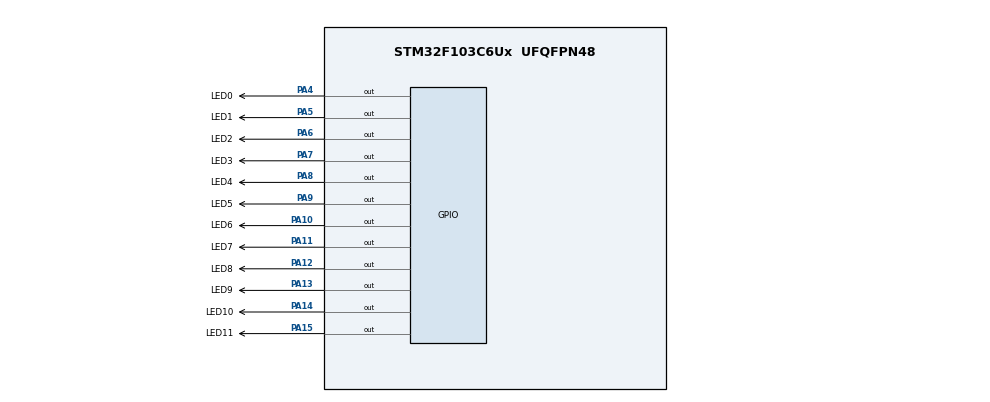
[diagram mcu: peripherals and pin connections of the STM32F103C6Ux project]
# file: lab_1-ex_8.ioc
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Mcu.Family=STM32F1
Mcu.Name=STM32F103C6Ux
Mcu.Package=UFQFPN48
NVIC.PriorityGroup=NVIC_PRIORITYGROUP_4
PA10.GPIO_Label=LED6
PA10.Signal=GPIO_Output
PA11.GPIO_Label=LED7
PA11.Signal=GPIO_Output
PA12.GPIO_Label=LED8
PA12.Signal=GPIO_Output
PA13.GPIO_Label=LED9
PA13.Signal=GPIO_Output
PA14.GPIO_Label=LED10
PA14.Signal=GPIO_Output
PA15.GPIO_Label=LED11
PA15.Signal=GPIO_Output
PA4.GPIO_Label=LED0
PA4.Signal=GPIO_Output
PA5.GPIO_Label=LED1
PA5.Signal=GPIO_Output
PA6.GPIO_Label=LED2
PA6.Signal=GPIO_Output
PA7.GPIO_Label=LED3
PA7.Signal=GPIO_Output
PA8.GPIO_Label=LED4
PA8.Signal=GPIO_Output
PA9.GPIO_Label=LED5
PA9.Signal=GPIO_Output
ProjectManager.HeapSize=0x200
ProjectManager.StackSize=0x400
ProjectManager.TargetToolchain=STM32CubeIDE
RCC.APB1Freq_Value=8000000
RCC.APB2Freq_Value=8000000
VP_SYS_VS_ND.Mode=No_Debug
board=custom

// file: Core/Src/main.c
/* USER CODE BEGIN Header */
/**
  ******************************************************************************
  * @file           : main.c
  * @brief          : Main program body
  ******************************************************************************
  * @attention
  *
  * <h2><center>&copy; Copyright (c) 2022 STMicroelectronics.
  * All rights reserved.</center></h2>
  *
  * This software component is licensed by ST under BSD 3-Clause license,
  * the "License"; You may not use this file except in compliance with the
  * License. You may obtain a copy of the License at:
  *                        opensource.org/licenses/BSD-3-Clause
  *
  ******************************************************************************
  */
/* USER CODE END Header */
#include "main.h"

void SystemClock_Config(void);
static void MX_GPIO_Init(void);

int main(void)
{

  /* MCU Configuration--------------------------------------------------------*/

  /* Reset of all peripherals, Initializes the Flash interface and the Systick. */
  HAL_Init();

  /* USER CODE BEGIN Init */
  int num_input = 9;
  void setNumberOnClock(int num){
	  switch (num){
	  case	0:
		  HAL_GPIO_WritePin(LED0_GPIO_Port, LED0_Pin, GPIO_PIN_RESET);
		  HAL_GPIO_WritePin(LED1_GPIO_Port, LED1_Pin, GPIO_PIN_SET);
		  HAL_GPIO_WritePin(LED2_GPIO_Port, LED2_Pin, GPIO_PIN_SET);
		  HAL_GPIO_WritePin(LED3_GPIO_Port, LED3_Pin, GPIO_PIN_SET);
		  HAL_GPIO_WritePin(LED4_GPIO_Port, LED4_Pin, GPIO_PIN_SET);
		  HAL_GPIO_WritePin(LED5_GPIO_Port, LED5_Pin, GPIO_PIN_SET);
		  HAL_GPIO_WritePin(LED6_GPIO_Port, LED6_Pin, GPIO_PIN_SET);
		  HAL_GPIO_WritePin(LED7_GPIO_Port, LED7_Pin, GPIO_PIN_SET);
		  HAL_GPIO_WritePin(LED8_GPIO_Port, LED8_Pin, GPIO_PIN_SET);
		  HAL_GPIO_WritePin(LED9_GPIO_Port, LED9_Pin, GPIO_PIN_SET);
		  HAL_GPIO_WritePin(LED10_GPIO_Port, LED10_Pin, GPIO_PIN_SET);
		  HAL_GPIO_WritePin(LED11_GPIO_Port, LED11_Pin, GPIO_PIN_SET);
		  break;
	  case	1:
		  HAL_GPIO_WritePin(LED1_GPIO_Port, LED1_Pin, GPIO_PIN_RESET);
		  HAL_GPIO_WritePin(LED0_GPIO_Port, LED0_Pin, GPIO_PIN_SET);
		  HAL_GPIO_WritePin(LED2_GPIO_Port, LED2_Pin, GPIO_PIN_SET);
		  HAL_GPIO_WritePin(LED3_GPIO_Port, LED3_Pin, GPIO_PIN_SET);
		  HAL_GPIO_WritePin(LED4_GPIO_Port, LED4_Pin, GPIO_PIN_SET);
		  HAL_GPIO_WritePin(LED5_GPIO_Port, LED5_Pin, GPIO_PIN_SET);
		  HAL_GPIO_WritePin(LED6_GPIO_Port, LED6_Pin, GPIO_PIN_SET);
		  HAL_GPIO_WritePin(LED7_GPIO_Port, LED7_Pin, GPIO_PIN_SET);
		  HAL_GPIO_WritePin(LED8_GPIO_Port, LED8_Pin, GPIO_PIN_SET);
		  HAL_GPIO_WritePin(LED9_GPIO_Port, LED9_Pin, GPIO_PIN_SET);
		  HAL_GPIO_WritePin(LED10_GPIO_Port, LED10_Pin, GPIO_PIN_SET);
		  HAL_GPIO_WritePin(LED11_GPIO_Port, LED11_Pin, GPIO_PIN_SET);
		  break;
	  case	2:
		  HAL_GPIO_WritePin(LED2_GPIO_Port, LED2_Pin, GPIO_PIN_RESET);
		  HAL_GPIO_WritePin(LED1_GPIO_Port, LED1_Pin, GPIO_PIN_SET);
		  HAL_GPIO_WritePin(LED0_GPIO_Port, LED0_Pin, GPIO_PIN_SET);
		  HAL_GPIO_WritePin(LED3_GPIO_Port, LED3_Pin, GPIO_PIN_SET);
		  HAL_GPIO_WritePin(LED4_GPIO_Port, LED4_Pin, GPIO_PIN_SET);
		  HAL_GPIO_WritePin(LED5_GPIO_Port, LED5_Pin, GPIO_PIN_SET);
		  HAL_GPIO_WritePin(LED6_GPIO_Port, LED6_Pin, GPIO_PIN_SET);
		  HAL_GPIO_WritePin(LED7_GPIO_Port, LED7_Pin, GPIO_PIN_SET);
		  HAL_GPIO_WritePin(LED8_GPIO_Port, LED8_Pin, GPIO_PIN_SET);
		  HAL_GPIO_WritePin(LED9_GPIO_Port, LED9_Pin, GPIO_PIN_SET);
		  HAL_GPIO_WritePin(LED10_GPIO_Port, LED10_Pin, GPIO_PIN_SET);
		  HAL_GPIO_WritePin(LED11_GPIO_Port, LED11_Pin, GPIO_PIN_SET);
		  break;
	  case	3:
		  HAL_GPIO_WritePin(LED3_GPIO_Port, LED3_Pin, GPIO_PIN_RESET);
		  HAL_GPIO_WritePin(LED1_GPIO_Port, LED1_Pin, GPIO_PIN_SET);
		  HAL_GPIO_WritePin(LED2_GPIO_Port, LED2_Pin, GPIO_PIN_SET);
		  HAL_GPIO_WritePin(LED0_GPIO_Port, LED0_Pin, GPIO_PIN_SET);
		  HAL_GPIO_WritePin(LED4_GPIO_Port, LED4_Pin, GPIO_PIN_SET);
		  HAL_GPIO_WritePin(LED5_GPIO_Port, LED5_Pin, GPIO_PIN_SET);
		  HAL_GPIO_WritePin(LED6_GPIO_Port, LED6_Pin, GPIO_PIN_SET);
		  HAL_GPIO_WritePin(LED7_GPIO_Port, LED7_Pin, GPIO_PIN_SET);
		  HAL_GPIO_WritePin(LED8_GPIO_Port, LED8_Pin, GPIO_PIN_SET);
		  HAL_GPIO_WritePin(LED9_GPIO_Port, LED9_Pin, GPIO_PIN_SET);
		  HAL_GPIO_WritePin(LED10_GPIO_Port, LED10_Pin, GPIO_PIN_SET);
		  HAL_GPIO_WritePin(LED11_GPIO_Port, LED11_Pin, GPIO_PIN_SET);
		  break;
	  case	4:
		  HAL_GPIO_WritePin(LED4_GPIO_Port, LED4_Pin, GPIO_PIN_RESET);
		  HAL_GPIO_WritePin(LED1_GPIO_Port, LED1_Pin, GPIO_PIN_SET);
		  HAL_GPIO_WritePin(LED2_GPIO_Port, LED2_Pin, GPIO_PIN_SET);
		  HAL_GPIO_WritePin(LED3_GPIO_Port, LED3_Pin, GPIO_PIN_SET);
		  HAL_GPIO_WritePin(LED0_GPIO_Port, LED0_Pin, GPIO_PIN_SET);
		  HAL_GPIO_WritePin(LED5_GPIO_Port, LED5_Pin, GPIO_PIN_SET);
		  HAL_GPIO_WritePin(LED6_GPIO_Port, LED6_Pin, GPIO_PIN_SET);
		  HAL_GPIO_WritePin(LED7_GPIO_Port, LED7_Pin, GPIO_PIN_SET);
		  HAL_GPIO_WritePin(LED8_GPIO_Port, LED8_Pin, GPIO_PIN_SET);
		  HAL_GPIO_WritePin(LED9_GPIO_Port, LED9_Pin, GPIO_PIN_SET);
		  HAL_GPIO_WritePin(LED10_GPIO_Port, LED10_Pin, GPIO_PIN_SET);
		  HAL_GPIO_WritePin(LED11_GPIO_Port, LED11_Pin, GPIO_PIN_SET);
		  break;
	  case	5:
		  HAL_GPIO_WritePin(LED5_GPIO_Port, LED5_Pin, GPIO_PIN_RESET);
		  HAL_GPIO_WritePin(LED1_GPIO_Port, LED1_Pin, GPIO_PIN_SET);
		  HAL_GPIO_WritePin(LED2_GPIO_Port, LED2_Pin, GPIO_PIN_SET);
		  HAL_GPIO_WritePin(LED3_GPIO_Port, LED3_Pin, GPIO_PIN_SET);
		  HAL_GPIO_WritePin(LED4_GPIO_Port, LED4_Pin, GPIO_PIN_SET);
		  HAL_GPIO_WritePin(LED0_GPIO_Port, LED0_Pin, GPIO_PIN_SET);
		  HAL_GPIO_WritePin(LED6_GPIO_Port, LED6_Pin, GPIO_PIN_SET);
		  HAL_GPIO_WritePin(LED7_GPIO_Port, LED7_Pin, GPIO_PIN_SET);
		  HAL_GPIO_WritePin(LED8_GPIO_Port, LED8_Pin, GPIO_PIN_SET);
		  HAL_GPIO_WritePin(LED9_GPIO_Port, LED9_Pin, GPIO_PIN_SET);
		  HAL_GPIO_WritePin(LED10_GPIO_Port, LED10_Pin, GPIO_PIN_SET);
		  HAL_GPIO_WritePin(LED11_GPIO_Port, LED11_Pin, GPIO_PIN_SET);
		  break;
	  case	6:
		  HAL_GPIO_WritePin(LED6_GPIO_Port, LED6_Pin, GPIO_PIN_RESET);
		  HAL_GPIO_WritePin(LED1_GPIO_Port, LED1_Pin, GPIO_PIN_SET);
		  HAL_GPIO_WritePin(LED2_GPIO_Port, LED2_Pin, GPIO_PIN_SET);
		  HAL_GPIO_WritePin(LED3_GPIO_Port, LED3_Pin, GPIO_PIN_SET);
		  HAL_GPIO_WritePin(LED4_GPIO_Port, LED4_Pin, GPIO_PIN_SET);
		  HAL_GPIO_WritePin(LED5_GPIO_Port, LED5_Pin, GPIO_PIN_SET);
		  HAL_GPIO_WritePin(LED0_GPIO_Port, LED0_Pin, GPIO_PIN_SET);
		  HAL_GPIO_WritePin(LED7_GPIO_Port, LED7_Pin, GPIO_PIN_SET);
		  HAL_GPIO_WritePin(LED8_GPIO_Port, LED8_Pin, GPIO_PIN_SET);
		  HAL_GPIO_WritePin(LED9_GPIO_Port, LED9_Pin, GPIO_PIN_SET);
		  HAL_GPIO_WritePin(LED10_GPIO_Port, LED10_Pin, GPIO_PIN_SET);
		  HAL_GPIO_WritePin(LED11_GPIO_Port, LED11_Pin, GPIO_PIN_SET);
		  break;
	  case	7:
		  HAL_GPIO_WritePin(LED7_GPIO_Port, LED7_Pin, GPIO_PIN_RESET);
		  HAL_GPIO_WritePin(LED1_GPIO_Port, LED1_Pin, GPIO_PIN_SET);
		  HAL_GPIO_WritePin(LED2_GPIO_Port, LED2_Pin, GPIO_PIN_SET);
		  HAL_GPIO_WritePin(LED3_GPIO_Port, LED3_Pin, GPIO_PIN_SET);
		  HAL_GPIO_WritePin(LED4_GPIO_Port, LED4_Pin, GPIO_PIN_SET);
		  HAL_GPIO_WritePin(LED5_GPIO_Port, LED5_Pin, GPIO_PIN_SET);
		  HAL_GPIO_WritePin(LED6_GPIO_Port, LED6_Pin, GPIO_PIN_SET);
		  HAL_GPIO_WritePin(LED0_GPIO_Port, LED0_Pin, GPIO_PIN_SET);
		  HAL_GPIO_WritePin(LED8_GPIO_Port, LED8_Pin, GPIO_PIN_SET);
		  HAL_GPIO_WritePin(LED9_GPIO_Port, LED9_Pin, GPIO_PIN_SET);
		  HAL_GPIO_WritePin(LED10_GPIO_Port, LED10_Pin, GPIO_PIN_SET);
		  HAL_GPIO_WritePin(LED11_GPIO_Port, LED11_Pin, GPIO_PIN_SET);
		  break;
	  case	8:
		  HAL_GPIO_WritePin(LED8_GPIO_Port, LED8_Pin, GPIO_PIN_RESET);
		  HAL_GPIO_WritePin(LED1_GPIO_Port, LED1_Pin, GPIO_PIN_SET);
		  HAL_GPIO_WritePin(LED2_GPIO_Port, LED2_Pin, GPIO_PIN_SET);
		  HAL_GPIO_WritePin(LED3_GPIO_Port, LED3_Pin, GPIO_PIN_SET);
		  HAL_GPIO_WritePin(LED4_GPIO_Port, LED4_Pin, GPIO_PIN_SET);
		  HAL_GPIO_WritePin(LED5_GPIO_Port, LED5_Pin, GPIO_PIN_SET);
		  HAL_GPIO_WritePin(LED6_GPIO_Port, LED6_Pin, GPIO_PIN_SET);
		  HAL_GPIO_WritePin(LED7_GPIO_Port, LED7_Pin, GPIO_PIN_SET);
		  HAL_GPIO_WritePin(LED0_GPIO_Port, LED0_Pin, GPIO_PIN_SET);
		  HAL_GPIO_WritePin(LED9_GPIO_Port, LED9_Pin, GPIO_PIN_SET);
		  HAL_GPIO_WritePin(LED10_GPIO_Port, LED10_Pin, GPIO_PIN_SET);
		  HAL_GPIO_WritePin(LED11_GPIO_Port, LED11_Pin, GPIO_PIN_SET);
		  break;
	  case	9:
		  HAL_GPIO_WritePin(LED9_GPIO_Port, LED9_Pin, GPIO_PIN_RESET);
		  HAL_GPIO_WritePin(LED1_GPIO_Port, LED1_Pin, GPIO_PIN_SET);
		  HAL_GPIO_WritePin(LED2_GPIO_Port, LED2_Pin, GPIO_PIN_SET);
		  HAL_GPIO_WritePin(LED3_GPIO_Port, LED3_Pin, GPIO_PIN_SET);
		  HAL_GPIO_WritePin(LED4_GPIO_Port, LED4_Pin, GPIO_PIN_SET);
		  HAL_GPIO_WritePin(LED5_GPIO_Port, LED5_Pin, GPIO_PIN_SET);
		  HAL_GPIO_WritePin(LED6_GPIO_Port, LED6_Pin, GPIO_PIN_SET);
		  HAL_GPIO_WritePin(LED7_GPIO_Port, LED7_Pin, GPIO_PIN_SET);
		  HAL_GPIO_WritePin(LED8_GPIO_Port, LED8_Pin, GPIO_PIN_SET);
		  HAL_GPIO_WritePin(LED0_GPIO_Port, LED0_Pin, GPIO_PIN_SET);
		  HAL_GPIO_WritePin(LED10_GPIO_Port, LED10_Pin, GPIO_PIN_SET);
		  HAL_GPIO_WritePin(LED11_GPIO_Port, LED11_Pin, GPIO_PIN_SET);
		  break;
	  case	10:
		  HAL_GPIO_WritePin(LED10_GPIO_Port, LED10_Pin, GPIO_PIN_RESET);
		  HAL_GPIO_WritePin(LED1_GPIO_Port, LED1_Pin, GPIO_PIN_SET);
		  HAL_GPIO_WritePin(LED2_GPIO_Port, LED2_Pin, GPIO_PIN_SET);
		  HAL_GPIO_WritePin(LED3_GPIO_Port, LED3_Pin, GPIO_PIN_SET);
		  HAL_GPIO_WritePin(LED4_GPIO_Port, LED4_Pin, GPIO_PIN_SET);
		  HAL_GPIO_WritePin(LED5_GPIO_Port, LED5_Pin, GPIO_PIN_SET);
		  HAL_GPIO_WritePin(LED6_GPIO_Port, LED6_Pin, GPIO_PIN_SET);
		  HAL_GPIO_WritePin(LED7_GPIO_Port, LED7_Pin, GPIO_PIN_SET);
		  HAL_GPIO_WritePin(LED8_GPIO_Port, LED8_Pin, GPIO_PIN_SET);
		  HAL_GPIO_WritePin(LED9_GPIO_Port, LED9_Pin, GPIO_PIN_SET);
		  HAL_GPIO_WritePin(LED0_GPIO_Port, LED0_Pin, GPIO_PIN_SET);
		  HAL_GPIO_WritePin(LED11_GPIO_Port, LED11_Pin, GPIO_PIN_SET);
		  break;
	  case	11:
		  HAL_GPIO_WritePin(LED11_GPIO_Port, LED11_Pin, GPIO_PIN_RESET);
		  HAL_GPIO_WritePin(LED1_GPIO_Port, LED1_Pin, GPIO_PIN_SET);
		  HAL_GPIO_WritePin(LED2_GPIO_Port, LED2_Pin, GPIO_PIN_SET);
		  HAL_GPIO_WritePin(LED3_GPIO_Port, LED3_Pin, GPIO_PIN_SET);
		  HAL_GPIO_WritePin(LED4_GPIO_Port, LED4_Pin, GPIO_PIN_SET);
		  HAL_GPIO_WritePin(LED5_GPIO_Port, LED5_Pin, GPIO_PIN_SET);
		  HAL_GPIO_WritePin(LED6_GPIO_Port, LED6_Pin, GPIO_PIN_SET);
		  HAL_GPIO_WritePin(LED7_GPIO_Port, LED7_Pin, GPIO_PIN_SET);
		  HAL_GPIO_WritePin(LED8_GPIO_Port, LED8_Pin, GPIO_PIN_SET);
		  HAL_GPIO_WritePin(LED9_GPIO_Port, LED9_Pin, GPIO_PIN_SET);
		  HAL_GPIO_WritePin(LED10_GPIO_Port, LED10_Pin, GPIO_PIN_SET);
		  HAL_GPIO_WritePin(LED0_GPIO_Port, LED0_Pin, GPIO_PIN_SET);
		  break;

	  }
  }
  /* USER CODE END Init */

  /* Configure the system clock */
  SystemClock_Config();

  /* Initialize all configured peripherals */
  MX_GPIO_Init();

  /* Infinite loop */
  /* USER CODE BEGIN WHILE */
  while (1)
  {
	  setNumberOnClock(num_input);
	  HAL_Delay(1000);
    /* USER CODE END WHILE */

  }
}

void SystemClock_Config(void)
{
  RCC_OscInitTypeDef RCC_OscInitStruct = {0};
  RCC_ClkInitTypeDef RCC_ClkInitStruct = {0};

  /** Initializes the RCC Oscillators according to the specified parameters
  * in the RCC_OscInitTypeDef structure.
  */
  RCC_OscInitStruct.OscillatorType = RCC_OSCILLATORTYPE_HSI;
  RCC_OscInitStruct.HSIState = RCC_HSI_ON;
  RCC_OscInitStruct.HSICalibrationValue = RCC_HSICALIBRATION_DEFAULT;
  RCC_OscInitStruct.PLL.PLLState = RCC_PLL_NONE;
  if (HAL_RCC_OscConfig(&RCC_OscInitStruct) != HAL_OK)
  {
    Error_Handler();
  }
  /** Initializes the CPU, AHB and APB buses clocks
  */
  RCC_ClkInitStruct.ClockType = RCC_CLOCKTYPE_HCLK|RCC_CLOCKTYPE_SYSCLK
                              |RCC_CLOCKTYPE_PCLK1|RCC_CLOCKTYPE_PCLK2;
  RCC_ClkInitStruct.SYSCLKSource = RCC_SYSCLKSOURCE_HSI;
  RCC_ClkInitStruct.AHBCLKDivider = RCC_SYSCLK_DIV1;
  RCC_ClkInitStruct.APB1CLKDivider = RCC_HCLK_DIV1;
  RCC_ClkInitStruct.APB2CLKDivider = RCC_HCLK_DIV1;

  if (HAL_RCC_ClockConfig(&RCC_ClkInitStruct, FLASH_LATENCY_0) != HAL_OK)
  {
    Error_Handler();
  }
}

static void MX_GPIO_Init(void)
{
  GPIO_InitTypeDef GPIO_InitStruct = {0};

  /* GPIO Ports Clock Enable */
  __HAL_RCC_GPIOA_CLK_ENABLE();

  /*Configure GPIO pin Output Level */
  HAL_GPIO_WritePin(GPIOA, LED0_Pin|LED1_Pin|LED2_Pin|LED3_Pin
                          |LED4_Pin|LED5_Pin|LED6_Pin|LED7_Pin
                          |LED8_Pin|LED9_Pin|LED10_Pin|LED11_Pin, GPIO_PIN_RESET);

  /*Configure GPIO pins : LED0_Pin LED1_Pin LED2_Pin LED3_Pin
                           LED4_Pin LED5_Pin LED6_Pin LED7_Pin
                           LED8_Pin LED9_Pin LED10_Pin LED11_Pin */
  GPIO_InitStruct.Pin = LED0_Pin|LED1_Pin|LED2_Pin|LED3_Pin
                          |LED4_Pin|LED5_Pin|LED6_Pin|LED7_Pin
                          |LED8_Pin|LED9_Pin|LED10_Pin|LED11_Pin;
  GPIO_InitStruct.Mode = GPIO_MODE_OUTPUT_PP;
  GPIO_InitStruct.Pull = GPIO_NOPULL;
  GPIO_InitStruct.Speed = GPIO_SPEED_FREQ_LOW;
  HAL_GPIO_Init(GPIOA, &GPIO_InitStruct);

}

void Error_Handler(void)
{
  __disable_irq();
  while (1)
  {
  }
}

/************************ (C) COPYRIGHT STMicroelectronics *****END OF FILE****/
